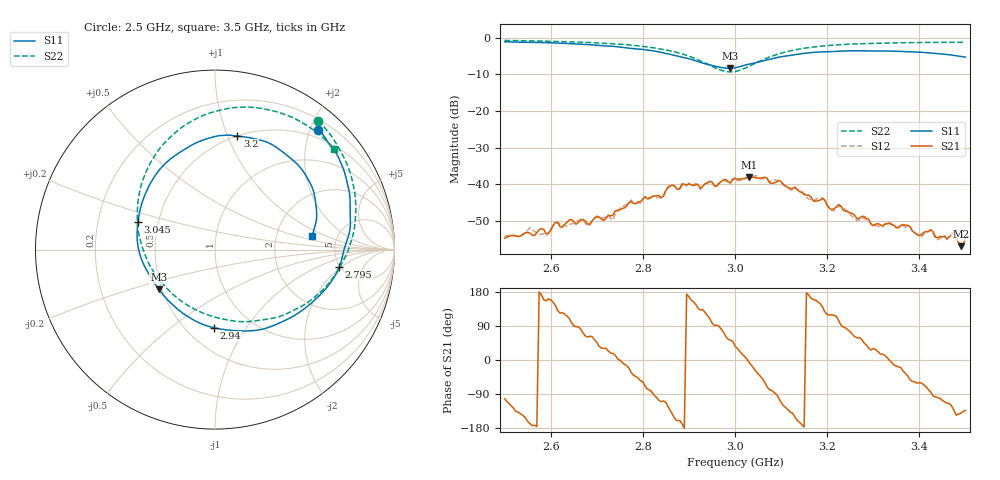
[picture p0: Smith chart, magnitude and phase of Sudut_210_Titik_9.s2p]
# Hz S RI R 50
! CMT, C1220, 16058040, 17.2.0/1
! Date: 15/08/2018 09:49:05
! Data: Format (Calibration Info)
! Freq  S11: Re/Im (F2)  S21: Re/Im (F2)  S12: Re/Im (F2)  S22: Re/Im (F2)
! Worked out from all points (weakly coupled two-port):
!   201 points, 2.5 GHz to 3.5 GHz, reference 50 ohm
!   highest |S21| = -38.00 dB at 3.03 GHz (marker M1); lowest = -56.9 dB at 3.49 GHz (marker M2)
!   lowest |S11| = -8.3 dB at 2.99 GHz (marker M3), VSWR 2.24, Z = 24 - j12.4 ohm
!   |S11| at or under -10 dB: nowhere
!   |S22| runs from -9.3 to -0.7 dB; largest |S21 - S12| = 0.0011
!   S11 on the Smith chart (normalised r, x): 2.5 GHz: 0.35, +2.13; 2.795 GHz: 4.92, -1.86; 2.94 GHz: 0.67, -0.72; 3.045 GHz: 0.38, +0.15; 3.2 GHz: 0.50, +1.08; 3.5 GHz: 3.24, +0.68
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2.5e9  0.5765 0.6688  -0.000387 -0.00179  -0.000418 -0.00191  0.5753 0.7178
2.555e9  0.6412 0.5816  -0.0021 -0.000447  -0.00247 -0.000638  0.6362 0.649
2.59e9  0.6865 0.517  -0.00194 0.000854  -0.00186 0.000664  0.6723 0.5962
2.615e9  0.7082 0.4672  -0.00196 0.00226  -0.00202 0.00231  0.6967 0.5543
2.67e9  0.7471 0.3264  0.00101 0.00315  0.00118 0.00305  0.7477 0.4449
2.735e9  0.7535 0.128  0.0036 0.00112  0.00311 0.000917  0.7819 0.2776
2.77e9  0.7203 0.00494  0.0052 -0.00204  0.00538 -0.00228  0.7817 0.1659
2.795e9  0.6925 -0.0967  0.00334 -0.00471  0.00312 -0.00452  0.7676 0.0767
2.835e9  0.5927 -0.2445  -0.002 -0.00669  -0.00172 -0.00645  0.7059 -0.0792
2.94e9  -0.0065 -0.4351  -0.00483 0.00919  -0.00501 0.00925  0.1746 -0.4018
2.99e9  -0.3137 -0.2206  0.00636 0.00824  0.00643 0.00863  -0.2132 -0.2675
3e9  -0.3573 -0.1547  0.00957 0.00734  0.00998 0.00682  -0.2774 -0.2057
3.03e9  -0.4331 0.051  0.0125 -0.00119  0.0124 -0.000974  -0.4059 0.0164
3.045e9  -0.429 0.1551  0.0107 -0.00599  0.0115 -0.00611  -0.4322 0.1382
3.105e9  -0.2656 0.4903  -0.00503 -0.00857  -0.00515 -0.00826  -0.3263 0.5383
3.17e9  0.00891 0.6324  -0.00556 0.00207  -0.00568 0.00158  -0.0705 0.7453
3.2e9  0.1238 0.6326  -0.00262 0.00444  -0.00245 0.00464  0.0426 0.7803
3.335e9  0.4778 0.4541  0.00293 -1.83e-05  0.00298 -0.000121  0.4174 0.7419
3.4e9  0.5489 0.3245  0.000996 -0.00174  0.000798 -0.00172  0.5345 0.6764
3.475e9  0.5586 0.1358  -0.00149 -0.00166  -0.00139 -0.00161  0.6369 0.5896
3.49e9  0.5477 0.098  -0.0011 -0.000913  -0.00125 -0.000879  0.6539 0.5707
3.5e9  0.5401 0.0738  -0.00123 -0.00132  -0.00117 -0.00108  0.6652 0.558
